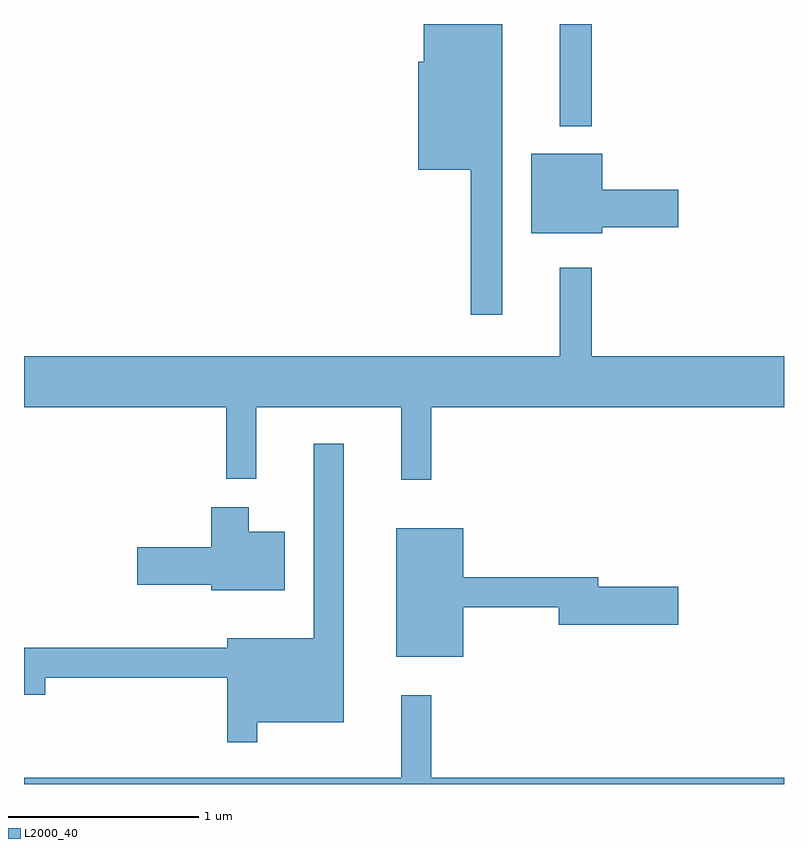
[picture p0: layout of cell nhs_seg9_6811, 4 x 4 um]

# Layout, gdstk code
import gdstk
lib = gdstk.Library(unit=1e-6, precision=1e-09)
def R(c, l, rs):  # rectangles x0, y0, x1, y1
    for r in rs: c.add(gdstk.rectangle(r[:2], r[2:], *l))
def P(c, l, *ps):  # polygons
    for p in ps: c.add(gdstk.Polygon(p, *l))
L2000_40 = (2000, 40)

nhs_seg9_6811 = lib.new_cell('nhs_seg9_6811')
R(nhs_seg9_6811, L2000_40, [(388.431,2059.893,388.599,2060.432)])
P(nhs_seg9_6811, L2000_40, [(388.129,2060.432),(387.716,2060.432),(387.716,2060.234),(387.686,2060.234),(387.686,2059.666),(387.961,2059.666),(387.961,2058.903),(388.129,2058.903)],
  [(388.654,2059.361),(389.054,2059.361),(389.054,2059.559),(388.654,2059.559),(388.654,2059.749),(388.281,2059.749),(388.281,2059.331),(388.654,2059.331)],
  [(387.754,2058.416),(389.611,2058.416),(389.611,2058.684),(388.599,2058.684),(388.599,2059.148),(388.431,2059.148),(388.431,2058.684),(385.611,2058.684),(385.611,2058.416),(386.676,2058.416),(386.676,2058.038),(386.834,2058.038),(386.834,2058.416),(387.596,2058.416),(387.596,2058.033),(387.754,2058.033)],
  [(386.839,2056.756),(387.294,2056.756),(387.294,2058.222),(387.136,2058.222),(387.136,2057.199),(386.681,2057.199),(386.681,2057.149),(385.611,2057.149),(385.611,2056.901),(385.724,2056.901),(385.724,2056.991),(386.681,2056.991),(386.681,2056.653),(386.839,2056.653)],
  [(386.984,2057.759),(386.794,2057.759),(386.794,2057.889),(386.596,2057.889),(386.596,2057.679),(386.206,2057.679),(386.206,2057.481),(386.596,2057.481),(386.596,2057.451),(386.984,2057.451)],
  [(387.924,2057.361),(388.426,2057.361),(388.426,2057.271),(389.054,2057.271),(389.054,2057.469),(388.634,2057.469),(388.634,2057.519),(387.924,2057.519),(387.924,2057.779),(387.571,2057.779),(387.571,2057.101),(387.924,2057.101)],
  [(389.611,2056.464),(387.754,2056.464),(387.754,2056.898),(387.596,2056.898),(387.596,2056.464),(385.611,2056.464),(385.611,2056.432),(389.611,2056.432)])

lib.write_gds('nhs_seg9_6811.gds')
